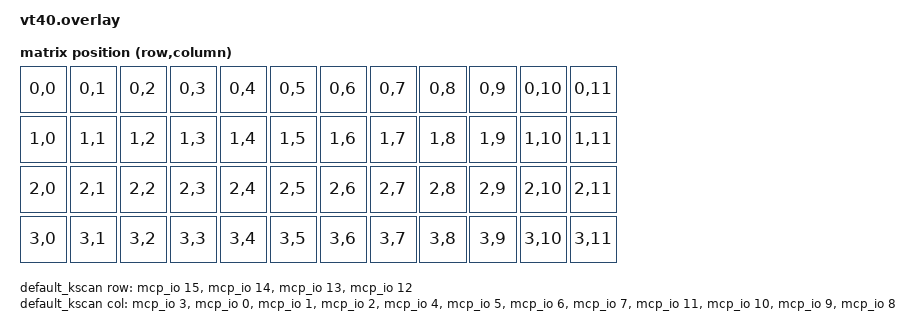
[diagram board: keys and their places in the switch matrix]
#include <dt-bindings/zmk/matrix_transform.h>
#include <nordic/nrf52840_qiaa.dtsi>

/ {
    chosen {
        zmk,kscan = &default_kscan;
        zmk,matrix_transform = &default_transform;
    };

	default_kscan: kscan {
		compatible = "zmk,kscan-gpio-matrix";
		label = "MATRIX_KSCAN";
		diode-direction = "col2row";

		col-gpios
			= <&mcp_io 3 (GPIO_ACTIVE_HIGH | GPIO_PULL_UP)>
			, <&mcp_io 0 (GPIO_ACTIVE_HIGH | GPIO_PULL_UP)>
			, <&mcp_io 1 (GPIO_ACTIVE_HIGH | GPIO_PULL_UP)>
			, <&mcp_io 2 (GPIO_ACTIVE_HIGH | GPIO_PULL_UP)>
			, <&mcp_io 4 (GPIO_ACTIVE_HIGH | GPIO_PULL_UP)>
			, <&mcp_io 5 (GPIO_ACTIVE_HIGH | GPIO_PULL_UP)>
			, <&mcp_io 6 (GPIO_ACTIVE_HIGH | GPIO_PULL_UP)>
			, <&mcp_io 7 (GPIO_ACTIVE_HIGH | GPIO_PULL_UP)>
			, <&mcp_io 11 (GPIO_ACTIVE_HIGH | GPIO_PULL_UP)>
			, <&mcp_io 10 (GPIO_ACTIVE_HIGH | GPIO_PULL_UP)>
			, <&mcp_io 9 (GPIO_ACTIVE_HIGH | GPIO_PULL_UP)>
			, <&mcp_io 8 (GPIO_ACTIVE_HIGH | GPIO_PULL_UP)>
			;
		row-gpios
			= <&mcp_io 15 (GPIO_ACTIVE_HIGH)>
			, <&mcp_io 14 (GPIO_ACTIVE_HIGH)>
			, <&mcp_io 13 (GPIO_ACTIVE_HIGH)>
			, <&mcp_io 12 (GPIO_ACTIVE_HIGH)>
			;
	};

	default_transform: keymap_transform_0 {
		compatible = "zmk,matrix-transform";
		columns = <12>;
		rows = <4>;

		map = <
            RC(0,0) RC(0,1) RC(0,2) RC(0,3) RC(0,4) RC(0,5) RC(0,6) RC(0,7) RC(0,8)  RC(0,9) RC(0,10) RC(0,11)
            RC(1,0) RC(1,1) RC(1,2) RC(1,3) RC(1,4) RC(1,5) RC(1,6) RC(1,7) RC(1,8)  RC(1,9) RC(1,10) RC(1,11)
            RC(2,0) RC(2,1) RC(2,2) RC(2,3) RC(2,4) RC(2,5) RC(2,6) RC(2,7) RC(2,8)  RC(2,9) RC(2,10) RC(2,11)        
            RC(3,0) RC(3,1) RC(3,2) RC(3,3) RC(3,4) RC(3,5) RC(3,6) RC(3,7) RC(3,8)  RC(3,9) RC(3,10) RC(3,11)     
		>;
	};


};

&i2c0 {
	status = "okay";
	clock-frequency = <I2C_BITRATE_FAST>;
	compatible = "nordic,nrf-twim";
	zephyr,concat-buf-size = <2048>;

	mcp_io: mcp23017@20 {
		compatible = "microchip,mcp23017";
		status = "okay";
		reg = <0x20>;
		label = "MCP_IO";

		gpio-controller;
		#gpio-cells = <2>;
		ngpios = <16>;
	};
};

&adc {
	status = "okay";
};

&gpiote {
	status = "okay";
};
